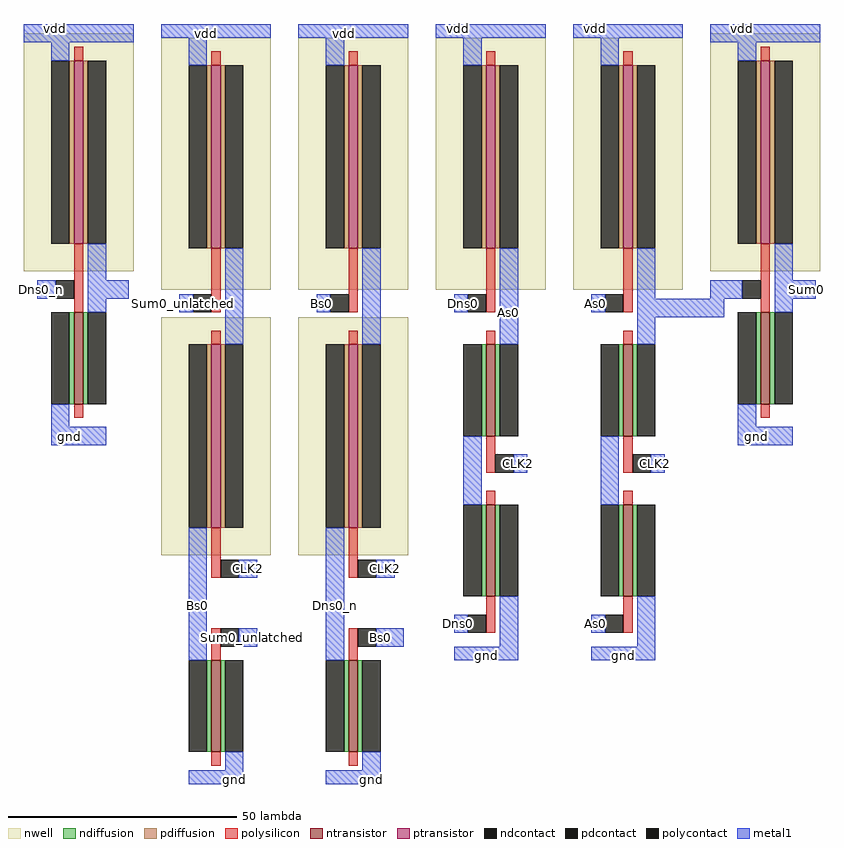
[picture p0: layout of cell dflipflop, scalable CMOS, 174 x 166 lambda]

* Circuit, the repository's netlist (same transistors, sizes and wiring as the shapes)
* SPICE3 file created from dflipflop.ext - technology: scmos

.option scale=0.09u

M1000 gnd Sum0_unlatched Bs0 Gnd nfet w=20 l=2
+  ad=600 pd=300 as=100 ps=50
M1001 a_2096_2213# CLK2 a_2089_2178# Gnd nfet w=20 l=2
+  ad=100 pd=50 as=200 ps=100
M1002 a_2096_2213# As0 vdd w_2083_2245# pfet w=40 l=2
+  ad=200 pd=90 as=1200 ps=540
M1003 Sum0 a_2096_2213# gnd Gnd nfet w=20 l=2
+  ad=100 pd=50 as=0 ps=0
M1004 gnd Bs0 Dns0_n Gnd nfet w=20 l=2
+  ad=0 pd=0 as=100 ps=50
M1005 Dns0 Dns0_n gnd Gnd nfet w=20 l=2
+  ad=100 pd=50 as=0 ps=0
M1006 a_2006_2193# Sum0_unlatched vdd w_1993_2245# pfet w=40 l=2
+  ad=400 pd=180 as=0 ps=0
M1007 gnd Dns0 a_2059_2178# Gnd nfet w=20 l=2
+  ad=0 pd=0 as=200 ps=100
M1008 Sum0 a_2096_2213# vdd w_2113_2249# pfet w=40 l=2
+  ad=200 pd=90 as=0 ps=0
M1009 a_2006_2193# CLK2 Bs0 w_1993_2187# pfet w=40 l=2
+  ad=0 pd=0 as=200 ps=90
M1010 Dns0 Dns0_n vdd w_1963_2249# pfet w=40 l=2
+  ad=200 pd=90 as=0 ps=0
M1011 a_2036_2193# Bs0 vdd w_2023_2245# pfet w=40 l=2
+  ad=400 pd=180 as=0 ps=0
M1012 gnd As0 a_2089_2178# Gnd nfet w=20 l=2
+  ad=0 pd=0 as=0 ps=0
M1013 a_2036_2193# CLK2 Dns0_n w_2023_2187# pfet w=40 l=2
+  ad=0 pd=0 as=200 ps=90
M1014 As0 CLK2 a_2059_2178# Gnd nfet w=20 l=2
+  ad=100 pd=50 as=0 ps=0
M1015 As0 Dns0 vdd w_2053_2245# pfet w=40 l=2
+  ad=200 pd=90 as=0 ps=0

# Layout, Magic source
magic
tech scmos
<< nwell >>
rect 1963 2249 1987 2301
rect 1993 2245 2017 2300
rect 2023 2245 2047 2300
rect 2053 2245 2077 2300
rect 2083 2245 2107 2300
rect 2113 2249 2137 2301
rect 1993 2187 2017 2239
rect 2023 2187 2047 2239
<< ntransistor >>
rect 1974 2220 1976 2240
rect 2064 2213 2066 2233
rect 2094 2213 2096 2233
rect 2124 2220 2126 2240
rect 2064 2178 2066 2198
rect 2094 2178 2096 2198
rect 2004 2144 2006 2164
rect 2034 2144 2036 2164
<< ptransistor >>
rect 1974 2255 1976 2295
rect 2004 2254 2006 2294
rect 2034 2254 2036 2294
rect 2064 2254 2066 2294
rect 2094 2254 2096 2294
rect 2124 2255 2126 2295
rect 2004 2193 2006 2233
rect 2034 2193 2036 2233
<< ndiffusion >>
rect 1973 2220 1974 2240
rect 1976 2220 1977 2240
rect 2063 2213 2064 2233
rect 2066 2213 2067 2233
rect 2093 2213 2094 2233
rect 2096 2213 2097 2233
rect 2123 2220 2124 2240
rect 2126 2220 2127 2240
rect 2063 2178 2064 2198
rect 2066 2178 2067 2198
rect 2093 2178 2094 2198
rect 2096 2178 2097 2198
rect 2003 2144 2004 2164
rect 2006 2144 2007 2164
rect 2033 2144 2034 2164
rect 2036 2144 2037 2164
<< pdiffusion >>
rect 1973 2255 1974 2295
rect 1976 2255 1977 2295
rect 2003 2254 2004 2294
rect 2006 2254 2007 2294
rect 2033 2254 2034 2294
rect 2036 2254 2037 2294
rect 2063 2254 2064 2294
rect 2066 2254 2067 2294
rect 2093 2254 2094 2294
rect 2096 2254 2097 2294
rect 2123 2255 2124 2295
rect 2126 2255 2127 2295
rect 2003 2193 2004 2233
rect 2006 2193 2007 2233
rect 2033 2193 2034 2233
rect 2036 2193 2037 2233
<< ndcontact >>
rect 1969 2220 1973 2240
rect 1977 2220 1981 2240
rect 2059 2213 2063 2233
rect 2067 2213 2071 2233
rect 2089 2213 2093 2233
rect 2097 2213 2101 2233
rect 2119 2220 2123 2240
rect 2127 2220 2131 2240
rect 2059 2178 2063 2198
rect 2067 2178 2071 2198
rect 2089 2178 2093 2198
rect 2097 2178 2101 2198
rect 1999 2144 2003 2164
rect 2007 2144 2011 2164
rect 2029 2144 2033 2164
rect 2037 2144 2041 2164
<< pdcontact >>
rect 1969 2255 1973 2295
rect 1977 2255 1981 2295
rect 1999 2254 2003 2294
rect 2007 2254 2011 2294
rect 2029 2254 2033 2294
rect 2037 2254 2041 2294
rect 2059 2254 2063 2294
rect 2067 2254 2071 2294
rect 2089 2254 2093 2294
rect 2097 2254 2101 2294
rect 2119 2255 2123 2295
rect 2127 2255 2131 2295
rect 1999 2193 2003 2233
rect 2007 2193 2011 2233
rect 2029 2193 2033 2233
rect 2037 2193 2041 2233
<< polysilicon >>
rect 1974 2295 1976 2298
rect 2004 2294 2006 2297
rect 2034 2294 2036 2297
rect 2064 2294 2066 2297
rect 2094 2294 2096 2297
rect 2124 2295 2126 2298
rect 1974 2240 1976 2255
rect 2004 2240 2006 2254
rect 2034 2240 2036 2254
rect 2064 2240 2066 2254
rect 2094 2240 2096 2254
rect 2124 2240 2126 2255
rect 2004 2233 2006 2236
rect 2034 2233 2036 2236
rect 2064 2233 2066 2236
rect 2094 2233 2096 2236
rect 1974 2217 1976 2220
rect 2124 2217 2126 2220
rect 2064 2205 2066 2213
rect 2094 2205 2096 2213
rect 2064 2198 2066 2201
rect 2094 2198 2096 2201
rect 2004 2182 2006 2193
rect 2034 2182 2036 2193
rect 2004 2164 2006 2171
rect 2034 2164 2036 2171
rect 2064 2170 2066 2178
rect 2094 2170 2096 2178
rect 2004 2141 2006 2144
rect 2034 2141 2036 2144
<< polycontact >>
rect 1970 2243 1974 2247
rect 2000 2240 2004 2244
rect 2030 2240 2034 2244
rect 2060 2240 2064 2244
rect 2090 2240 2094 2244
rect 2120 2243 2124 2247
rect 2066 2205 2070 2209
rect 2096 2205 2100 2209
rect 2006 2182 2010 2186
rect 2036 2182 2040 2186
rect 2006 2167 2010 2171
rect 2036 2167 2040 2171
rect 2060 2170 2064 2174
rect 2090 2170 2094 2174
<< metal1 >>
rect 1963 2299 1987 2303
rect 1993 2300 2017 2303
rect 2023 2300 2047 2303
rect 2053 2300 2077 2303
rect 2083 2300 2107 2303
rect 1969 2295 1973 2299
rect 1977 2247 1981 2255
rect 1999 2294 2003 2300
rect 2029 2294 2033 2300
rect 2059 2294 2063 2300
rect 2089 2294 2093 2300
rect 2113 2299 2137 2303
rect 2119 2295 2123 2299
rect 1966 2243 1970 2247
rect 1977 2243 1986 2247
rect 1977 2240 1981 2243
rect 1997 2240 2000 2244
rect 2007 2233 2011 2254
rect 2027 2240 2030 2244
rect 2037 2233 2041 2254
rect 2057 2240 2060 2244
rect 2067 2233 2071 2254
rect 2087 2240 2090 2244
rect 2097 2243 2101 2254
rect 2127 2247 2131 2255
rect 2113 2243 2120 2247
rect 2127 2243 2136 2247
rect 2097 2239 2116 2243
rect 2127 2240 2131 2243
rect 2097 2233 2101 2239
rect 1969 2215 1973 2220
rect 1969 2211 1981 2215
rect 2119 2215 2123 2220
rect 2059 2198 2063 2213
rect 2070 2205 2073 2209
rect 2089 2198 2093 2213
rect 2119 2211 2131 2215
rect 2100 2205 2103 2209
rect 1999 2164 2003 2193
rect 2010 2182 2014 2186
rect 2010 2167 2014 2171
rect 2029 2164 2033 2193
rect 2040 2182 2044 2186
rect 2040 2167 2046 2171
rect 2057 2170 2060 2174
rect 2067 2167 2071 2178
rect 2087 2170 2090 2174
rect 2097 2167 2101 2178
rect 2057 2164 2071 2167
rect 2087 2164 2101 2167
rect 2007 2140 2011 2144
rect 2037 2140 2041 2144
rect 1999 2137 2011 2140
rect 2029 2137 2041 2140
<< labels >>
rlabel metal1 1973 2213 1973 2213 1 gnd
rlabel metal1 1970 2302 1970 2302 5 vdd
rlabel metal1 2003 2301 2003 2301 1 vdd
rlabel metal1 2033 2301 2033 2301 1 vdd
rlabel metal1 2009 2138 2009 2138 1 gnd
rlabel metal1 2039 2138 2039 2138 1 gnd
rlabel metal1 2064 2165 2064 2165 1 gnd
rlabel metal1 2058 2302 2058 2302 1 vdd
rlabel metal1 2094 2165 2094 2165 1 gnd
rlabel metal1 2088 2302 2088 2302 1 vdd
rlabel metal1 1998 2242 1998 2242 1 Sum0_unlatched
rlabel metal1 2012 2184 2012 2184 1 CLK2
rlabel metal1 2001 2176 2001 2176 1 Bs0
rlabel metal1 2041 2169 2041 2169 1 Bs0
rlabel metal1 2042 2184 2042 2184 1 CLK2
rlabel metal1 2028 2242 2028 2242 1 Bs0
rlabel metal1 2059 2242 2059 2242 1 Dns0
rlabel metal1 2069 2240 2069 2240 1 As0
rlabel metal1 2071 2207 2071 2207 1 CLK2
rlabel metal1 2058 2172 2058 2172 1 Dns0
rlabel metal1 2088 2242 2088 2242 1 As0
rlabel metal1 2088 2172 2088 2172 1 As0
rlabel metal1 2101 2207 2101 2207 1 CLK2
rlabel metal1 2013 2169 2013 2169 1 Sum0_unlatched
rlabel metal1 1967 2245 1967 2245 1 Dns0_n
rlabel metal1 1984 2245 1984 2245 1 Dns0
rlabel metal1 2031 2176 2031 2176 1 Dns0_n
rlabel metal1 2123 2213 2123 2213 1 gnd
rlabel metal1 2120 2302 2120 2302 5 vdd
rlabel metal1 2134 2245 2134 2245 1 Sum0
<< end >>
